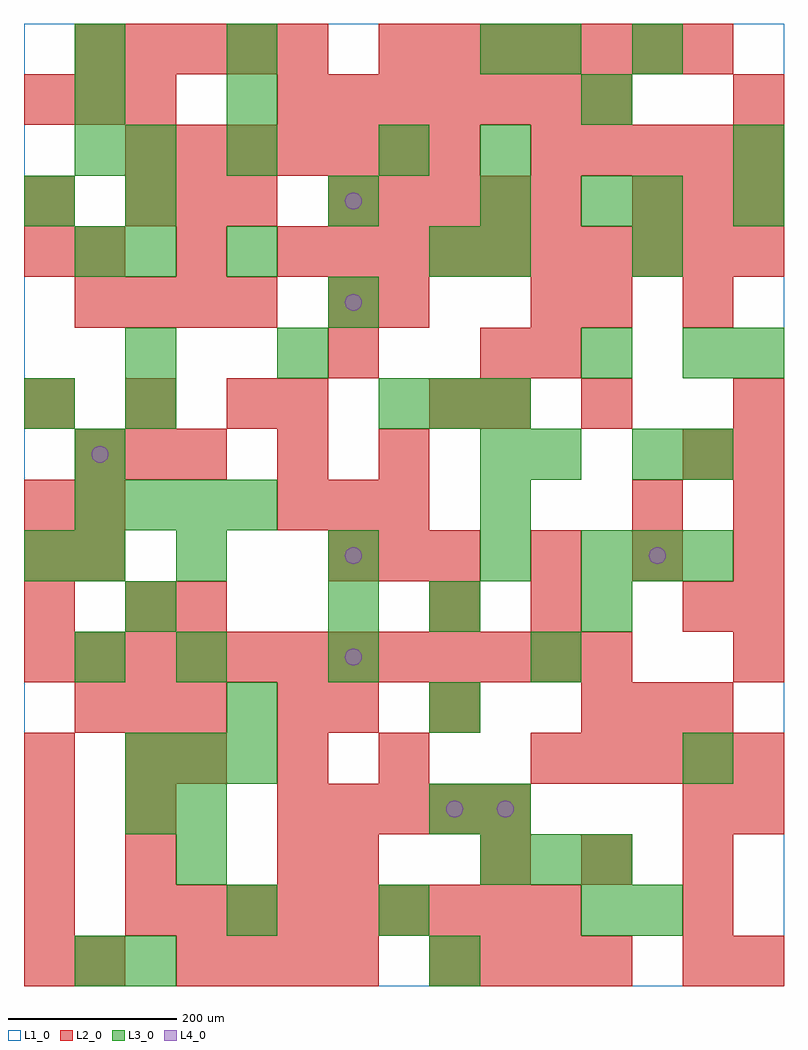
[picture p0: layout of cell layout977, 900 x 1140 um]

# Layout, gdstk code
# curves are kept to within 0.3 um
import gdstk
lib = gdstk.Library(unit=1e-6, precision=1e-09)
def R(c, l, rs):  # rectangles x0, y0, x1, y1
    for r in rs: c.add(gdstk.rectangle(r[:2], r[2:], *l))
def A(c, l, x, y, w, h, nx, ny, dx, dy):  # array of equal rectangles
    R(c, l, [(x+i*dx, y+j*dy, x+i*dx+w, y+j*dy+h) for i in range(nx) for j in range(ny)])
def P(c, l, *ps):  # polygons
    for p in ps: c.add(gdstk.Polygon(p, *l))
L1_0 = (1, 0)
L2_0 = (2, 0)
L3_0 = (3, 0)
L4_0 = (4, 0)

layout977 = lib.new_cell('layout977')
R(layout977, L1_0, [(0,0,900,1140)])
A(layout977, L2_0, 0, 0, 60, 60, 1, 5, 0, 60)
A(layout977, L2_0, 180, 0, 60, 60, 4, 1, 60, 0)
A(layout977, L2_0, 480, 0, 60, 60, 4, 1, 60, 0)
A(layout977, L2_0, 840, 0, 60, 60, 1, 3, 0, 180)
A(layout977, L2_0, 120, 60, 60, 60, 9, 1, 60, 0)
A(layout977, L2_0, 120, 120, 60, 60, 1, 3, 0, 60)
A(layout977, L2_0, 540, 120, 60, 60, 3, 1, 120, 0)
A(layout977, L2_0, 300, 180, 60, 60, 5, 1, 60, 0)
A(layout977, L2_0, 180, 240, 60, 60, 3, 1, 120, 0)
A(layout977, L2_0, 600, 240, 60, 60, 5, 2, 60, 720)
A(layout977, L2_0, 60, 300, 60, 60, 3, 2, 60, 300)
A(layout977, L2_0, 660, 300, 60, 60, 3, 1, 60, 0)
A(layout977, L2_0, 0, 360, 60, 60, 12, 1, 60, 0)
A(layout977, L2_0, 0, 420, 60, 60, 1, 3, 0, 60)
A(layout977, L2_0, 780, 420, 60, 60, 1, 3, 0, 180)
A(layout977, L2_0, 360, 480, 60, 60, 3, 1, 60, 0)
A(layout977, L2_0, 600, 480, 60, 60, 3, 1, 120, 0)
A(layout977, L2_0, 300, 540, 60, 60, 3, 1, 60, 0)
A(layout977, L2_0, 840, 540, 60, 60, 1, 3, 0, 60)
A(layout977, L2_0, 0, 660, 60, 60, 3, 1, 120, 0)
A(layout977, L2_0, 60, 780, 60, 60, 4, 1, 60, 0)
A(layout977, L2_0, 60, 840, 60, 60, 3, 1, 120, 0)
A(layout977, L2_0, 360, 840, 60, 60, 9, 1, 60, 0)
A(layout977, L2_0, 120, 900, 60, 60, 3, 1, 60, 0)
A(layout977, L2_0, 360, 900, 60, 60, 5, 1, 60, 0)
A(layout977, L2_0, 720, 900, 60, 60, 3, 1, 60, 0)
A(layout977, L2_0, 120, 960, 60, 60, 7, 1, 60, 0)
A(layout977, L2_0, 0, 1020, 60, 60, 3, 1, 60, 0)
A(layout977, L2_0, 300, 1020, 60, 60, 7, 1, 60, 0)
A(layout977, L2_0, 60, 1080, 60, 60, 5, 1, 60, 0)
A(layout977, L2_0, 420, 1080, 60, 60, 7, 1, 60, 0)
R(layout977, L2_0, [(60,0,120,60), (780,0,840,60), (780,60,840,120), (300,120,360,180), (360,120,420,180), (780,180,840,240), (300,300,360,360), (360,300,420,360), (480,300,540,360), (120,420,180,480), (180,420,240,480), (480,420,540,480), (600,420,660,480), (840,420,900,480), (60,480,120,540), (60,540,120,600), (720,540,780,600), (300,600,360,660), (420,600,480,660), (300,660,360,720), (480,660,540,720), (540,660,600,720), (660,660,720,720), (360,720,420,780), (540,720,600,780), (600,720,660,780), (360,780,420,840), (420,780,480,840), (600,780,660,840), (660,780,720,840), (0,840,60,900), (0,900,60,960), (840,1020,900,1080)])
A(layout977, L3_0, 540, 120, 60, 60, 3, 1, 60, 0)
A(layout977, L3_0, 120, 180, 60, 60, 1, 3, 0, 240)
A(layout977, L3_0, 480, 180, 60, 60, 1, 3, 0, 120)
A(layout977, L3_0, 120, 240, 60, 60, 3, 1, 60, 0)
A(layout977, L3_0, 60, 360, 60, 60, 1, 3, 0, 120)
A(layout977, L3_0, 180, 480, 60, 60, 3, 1, 180, 0)
A(layout977, L3_0, 660, 480, 60, 60, 3, 1, 60, 0)
A(layout977, L3_0, 60, 540, 60, 60, 4, 1, 60, 0)
A(layout977, L3_0, 420, 660, 60, 60, 3, 1, 60, 0)
A(layout977, L3_0, 120, 840, 60, 60, 1, 3, 0, 60)
A(layout977, L3_0, 540, 840, 60, 60, 1, 3, 0, 60)
A(layout977, L3_0, 60, 960, 60, 60, 1, 3, 0, 60)
A(layout977, L3_0, 240, 960, 60, 60, 1, 3, 0, 60)
R(layout977, L3_0, [(60,0,120,60), (120,0,180,60), (480,0,540,60), (240,60,300,120), (420,60,480,120), (660,60,720,120), (720,60,780,120), (180,120,240,180), (180,180,240,240), (540,180,600,240), (780,240,840,300), (240,300,300,360), (180,360,240,420), (360,360,420,420), (600,360,660,420), (360,420,420,480), (660,420,720,480), (0,480,60,540), (540,540,600,600), (540,600,600,660), (600,600,660,660), (720,600,780,660), (780,600,840,660), (0,660,60,720), (120,720,180,780), (300,720,360,780), (660,720,720,780), (780,720,840,780), (840,720,900,780), (360,780,420,840), (60,840,120,900), (240,840,300,900), (480,840,540,900), (720,840,780,900), (0,900,60,960), (360,900,420,960), (660,900,720,960), (720,900,780,960), (840,900,900,960), (420,960,480,1020), (840,960,900,1020), (660,1020,720,1080), (540,1080,600,1140), (600,1080,660,1140), (720,1080,780,1140)])
P(layout977, L4_0, [(100,630),(99.239,633.827),(97.071,637.071),(93.827,639.239),(90,640),(86.173,639.239),(82.929,637.071),(80.761,633.827),(80,630),(80.761,626.173),(82.929,622.929),(86.173,620.761),(90,620),(93.827,620.761),(97.071,622.929),(99.239,626.173)],
  [(400,390),(399.239,393.827),(397.071,397.071),(393.827,399.239),(390,400),(386.173,399.239),(382.929,397.071),(380.761,393.827),(380,390),(380.761,386.173),(382.929,382.929),(386.173,380.761),(390,380),(393.827,380.761),(397.071,382.929),(399.239,386.173)],
  [(400,510),(399.239,513.827),(397.071,517.071),(393.827,519.239),(390,520),(386.173,519.239),(382.929,517.071),(380.761,513.827),(380,510),(380.761,506.173),(382.929,502.929),(386.173,500.761),(390,500),(393.827,500.761),(397.071,502.929),(399.239,506.173)],
  [(400,810),(399.239,813.827),(397.071,817.071),(393.827,819.239),(390,820),(386.173,819.239),(382.929,817.071),(380.761,813.827),(380,810),(380.761,806.173),(382.929,802.929),(386.173,800.761),(390,800),(393.827,800.761),(397.071,802.929),(399.239,806.173)],
  [(400,930),(399.239,933.827),(397.071,937.071),(393.827,939.239),(390,940),(386.173,939.239),(382.929,937.071),(380.761,933.827),(380,930),(380.761,926.173),(382.929,922.929),(386.173,920.761),(390,920),(393.827,920.761),(397.071,922.929),(399.239,926.173)],
  [(520,210),(519.239,213.827),(517.071,217.071),(513.827,219.239),(510,220),(506.173,219.239),(502.929,217.071),(500.761,213.827),(500,210),(500.761,206.173),(502.929,202.929),(506.173,200.761),(510,200),(513.827,200.761),(517.071,202.929),(519.239,206.173)],
  [(580,210),(579.239,213.827),(577.071,217.071),(573.827,219.239),(570,220),(566.173,219.239),(562.929,217.071),(560.761,213.827),(560,210),(560.761,206.173),(562.929,202.929),(566.173,200.761),(570,200),(573.827,200.761),(577.071,202.929),(579.239,206.173)],
  [(760,510),(759.239,513.827),(757.071,517.071),(753.827,519.239),(750,520),(746.173,519.239),(742.929,517.071),(740.761,513.827),(740,510),(740.761,506.173),(742.929,502.929),(746.173,500.761),(750,500),(753.827,500.761),(757.071,502.929),(759.239,506.173)])

lib.write_gds('layout977.gds')
